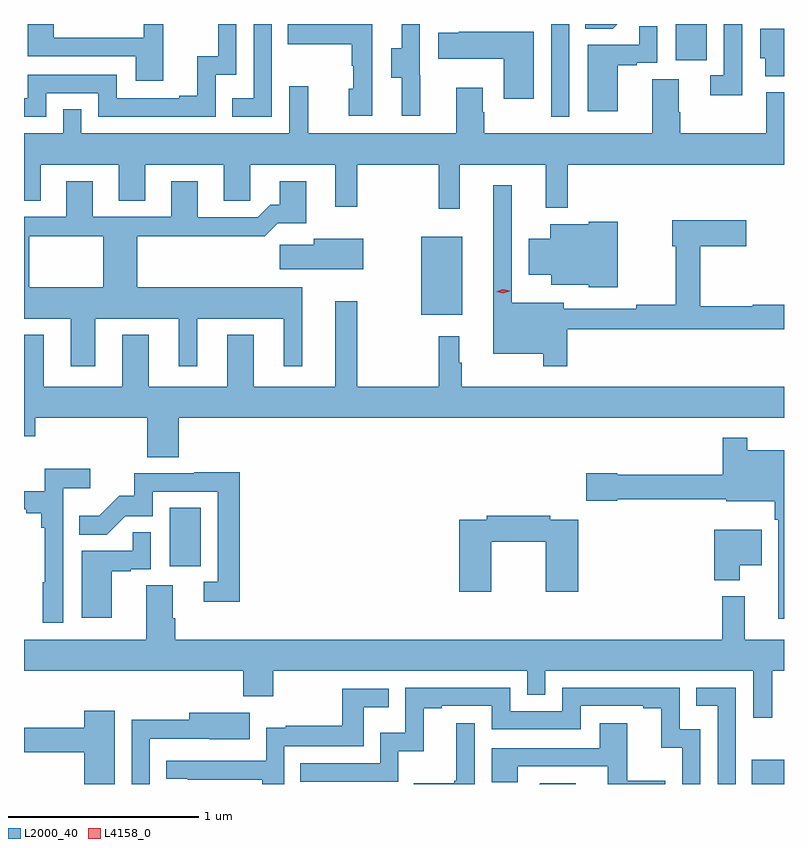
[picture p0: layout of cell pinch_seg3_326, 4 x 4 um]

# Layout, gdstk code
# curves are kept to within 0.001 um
import gdstk
lib = gdstk.Library(unit=1e-6, precision=1e-09)
def R(c, l, rs):  # rectangles x0, y0, x1, y1
    for r in rs: c.add(gdstk.rectangle(r[:2], r[2:], *l))
def P(c, l, *ps):  # polygons
    for p in ps: c.add(gdstk.Polygon(p, *l))
L2000_40 = (2000, 40)
L4158_0 = (4158, 0)

pinch_seg3_326 = lib.new_cell('pinch_seg3_326')
R(pinch_seg3_326, L2000_40, [(1001.593,717.636,1001.762,717.763), (998.528,718.782,998.692,719.089), (999.854,720.107,1000.069,720.517), (1000.536,721.149,1000.632,721.636), (1001.192,721.446,1001.356,721.636)])
P(pinch_seg3_326, L2000_40, [(997.878,721.272),(998.154,721.272),(998.154,721.149),(998.772,721.149),(998.772,721.368),(998.88,721.368),(998.88,721.636),(998.784,721.636),(998.784,721.466),(998.675,721.466),(998.675,721.258),(998.579,721.258),(998.579,721.245),(998.25,721.245),(998.25,721.368),(997.782,721.368),(997.782,721.245),(997.762,721.245),(997.762,721.149),(997.878,721.149)],
  [(999.848,721.365),(999.846,721.365),(999.846,721.636),(999.75,721.636),(999.75,721.509),(999.695,721.509),(999.695,721.354),(999.749,721.354),(999.749,721.152),(999.848,721.152)],
  [(998.495,721.636),(998.393,721.636),(998.393,721.563),(997.919,721.563),(997.919,721.636),(997.782,721.636),(997.782,721.467),(998.351,721.467),(998.351,721.338),(998.495,721.338)],
  [(1000.885,721.636),(1000.717,721.636),(1000.717,721.612),(1000.861,721.612)],
  [(1001.541,721.636),(1001.445,721.636),(1001.445,721.365),(1001.373,721.365),(1001.373,721.26),(1001.541,721.26)],
  [(999.594,721.636),(999.151,721.636),(999.151,721.529),(999.486,721.529),(999.486,721.415),(999.496,721.415),(999.496,721.296),(999.47,721.296),(999.47,721.152),(999.594,721.152)],
  [(999.066,721.636),(998.97,721.636),(998.97,721.245),(998.857,721.245),(998.857,721.149),(999.066,721.149)],
  [(1000.888,721.419),(1000.988,721.419),(1000.988,721.431),(1001.094,721.431),(1001.094,721.625),(1000.999,721.625),(1000.999,721.527),(1000.73,721.527),(1000.73,721.176),(1000.888,721.176)],
  [(1001.762,721.612),(1001.636,721.612),(1001.636,721.455),(1001.663,721.455),(1001.663,721.361),(1001.762,721.361)],
  [(1000.444,721.594),(1000.051,721.594),(1000.051,721.591),(999.943,721.591),(999.943,721.454),(1000.286,721.454),(1000.286,721.242),(1000.444,721.242)],
  [(998.064,721.187),(997.968,721.187),(997.968,721.06),(997.762,721.06),(997.762,720.706),(997.849,720.706),(997.849,720.896),(998.261,720.896),(998.261,720.706),(998.401,720.706),(998.401,720.896),(998.813,720.896),(998.813,720.706),(998.952,720.706),(998.952,720.896),(999.401,720.896),(999.401,720.675),(999.515,720.675),(999.515,720.896),(999.945,720.896),(999.945,720.663),(1000.055,720.663),(1000.055,720.896),(1000.508,720.896),(1000.508,720.668),(1000.625,720.668),(1000.625,720.896),(1001.762,720.896),(1001.762,721.276),(1001.669,721.276),(1001.669,721.06),(1001.217,721.06),(1001.217,721.172),(1001.209,721.172),(1001.209,721.346),(1001.069,721.346),(1001.069,721.06),(1000.185,721.06),(1000.185,721.172),(1000.177,721.172),(1000.177,721.3),(1000.037,721.3),(1000.037,721.06),(999.257,721.06),(999.257,721.309),(999.159,721.309),(999.159,721.06),(998.064,721.06)],
  [(998.009,720.086),(998.009,719.835),(998.137,719.835),(998.137,720.086),(998.576,720.086),(998.576,719.835),(998.674,719.835),(998.674,720.086),(999.128,720.086),(999.128,719.835),(999.226,719.835),(999.226,720.25),(998.357,720.25),(998.357,720.52),(998.773,720.52),(998.773,720.518),(999.029,720.518),(999.098,720.587),(999.247,720.587),(999.247,720.808),(999.107,720.808),(999.107,720.685),(999.058,720.685),(998.991,720.618),(998.677,720.618),(998.677,720.808),(998.537,720.808),(998.537,720.621),(998.125,720.621),(998.125,720.808),(997.985,720.808),(997.985,720.621),(997.762,720.621),(997.762,720.25),(997.789,720.25),(997.789,720.52),(998.179,720.52),(998.179,720.25),(997.762,720.25),(997.762,720.086)],
  [(1000.622,720.03),(1001.762,720.03),(1001.762,720.158),(1001.598,720.158),(1001.598,720.151),(1001.321,720.151),(1001.321,720.466),(1001.563,720.466),(1001.563,720.603),(1001.174,720.603),(1001.174,720.466),(1001.193,720.466),(1001.193,720.158),(1000.984,720.158),(1000.984,720.138),(1000.603,720.138),(1000.603,720.169),(1000.329,720.169),(1000.329,720.787),(1000.232,720.787),(1000.232,719.9),(1000.494,719.9),(1000.494,719.835),(1000.622,719.835)],
  [(1000.888,720.595),(1000.734,720.595),(1000.734,720.583),(1000.532,720.583),(1000.532,720.505),(1000.418,720.505),(1000.418,720.317),(1000.538,720.317),(1000.538,720.263),(1000.734,720.263),(1000.734,720.251),(1000.888,720.251)],
  [(999.547,720.505),(999.288,720.505),(999.288,720.473),(999.108,720.473),(999.108,720.344),(999.547,720.344)],
  [(998.576,719.564),(1001.762,719.564),(1001.762,719.728),(1000.066,719.728),(1000.066,719.852),(1000.054,719.852),(1000.054,719.992),(999.945,719.992),(999.945,719.728),(999.515,719.728),(999.515,720.178),(999.401,720.178),(999.401,719.728),(998.971,719.728),(998.971,720.001),(998.831,720.001),(998.831,719.728),(998.419,719.728),(998.419,720.001),(998.279,720.001),(998.279,719.728),(997.867,719.728),(997.867,720.001),(997.762,720.001),(997.762,719.466),(997.82,719.466),(997.82,719.564),(998.411,719.564),(998.411,719.356),(998.576,719.356)],
  [(1001.762,719.392),(1001.569,719.392),(1001.569,719.458),(1001.44,719.458),(1001.44,719.263),(1000.884,719.263),(1000.884,719.271),(1000.722,719.271),(1000.722,719.126),(1000.884,719.126),(1000.884,719.134),(1001.459,719.134),(1001.459,719.123),(1001.713,719.123),(1001.713,719.027),(1001.733,719.027),(1001.733,718.506),(1001.762,718.506)],
  [(997.968,719.192),(998.11,719.192),(998.11,719.294),(997.871,719.294),(997.871,719.178),(997.762,719.178),(997.762,719.081),(997.775,719.081),(997.775,719.062),(997.852,719.062),(997.852,718.985),(997.871,718.985),(997.871,718.697),(997.86,718.697),(997.86,718.485),(997.968,718.485)],
  [(998.897,719.276),(998.659,719.276),(998.659,719.271),(998.341,719.271),(998.341,719.154),(998.264,719.154),(998.157,719.047),(998.053,719.047),(998.053,718.948),(998.197,718.948),(998.295,719.046),(998.439,719.046),(998.439,719.175),(998.781,719.175),(998.781,718.701),(998.709,718.701),(998.709,718.596),(998.897,718.596)],
  [(1000.222,718.912),(1000.508,718.912),(1000.508,718.647),(1000.679,718.647),(1000.679,719.028),(1000.532,719.028),(1000.532,719.048),(1000.198,719.048),(1000.198,719.028),(1000.052,719.028),(1000.052,718.647),(1000.222,718.647)],
  [(1001.53,718.787),(1001.644,718.787),(1001.644,718.975),(1001.396,718.975),(1001.396,718.709),(1001.53,718.709)],
  [(998.224,718.755),(998.324,718.755),(998.324,718.767),(998.43,718.767),(998.43,718.961),(998.335,718.961),(998.335,718.863),(998.066,718.863),(998.066,718.512),(998.224,718.512)],
  [(1001.699,718.232),(1001.762,718.232),(1001.762,718.396),(1001.555,718.396),(1001.555,718.624),(1001.437,718.624),(1001.437,718.396),(998.558,718.396),(998.558,718.508),(998.545,718.508),(998.545,718.682),(998.405,718.682),(998.405,718.396),(997.762,718.396),(997.762,718.232),(998.915,718.232),(998.915,718.097),(999.075,718.097),(999.075,718.232),(1000.41,718.232),(1000.41,718.105),(1000.506,718.105),(1000.506,718.232),(1001.601,718.232),(1001.601,717.984),(1001.699,717.984)],
  [(1001.322,717.924),(1001.214,717.924),(1001.214,718.143),(1000.596,718.143),(1000.596,718.02),(1000.32,718.02),(1000.32,718.143),(999.768,718.143),(999.768,717.907),(999.636,717.907),(999.636,717.744),(999.217,717.744),(999.217,717.648),(999.732,717.648),(999.732,717.809),(999.865,717.809),(999.865,718.035),(999.961,718.035),(999.961,718.047),(1000.224,718.047),(1000.224,717.924),(1000.692,717.924),(1000.692,718.047),(1001.021,718.047),(1001.021,718.035),(1001.117,718.035),(1001.117,717.827),(1001.226,717.827),(1001.226,717.636),(1001.322,717.636)],
  [(1001.508,718.143),(1001.299,718.143),(1001.299,718.047),(1001.412,718.047),(1001.412,717.636),(1001.508,717.636)],
  [(999.132,717.834),(999.549,717.834),(999.549,718.04),(999.683,718.04),(999.683,718.137),(999.438,718.137),(999.438,717.943),(999.139,717.943),(999.139,717.931),(999.036,717.931),(999.036,717.759),(998.511,717.759),(998.511,717.663),(998.623,717.663),(998.623,717.658),(999.016,717.658),(999.016,717.636),(999.132,717.636)],
  [(998.239,718.021),(998.078,718.021),(998.078,717.931),(997.762,717.931),(997.762,717.802),(998.078,717.802),(998.078,717.636),(998.239,717.636)],
  [(998.424,717.873),(998.737,717.873),(998.737,717.872),(998.951,717.872),(998.951,718.012),(998.633,718.012),(998.633,717.974),(998.328,717.974),(998.328,717.636),(998.424,717.636)],
  [(1000.134,717.955),(1000.037,717.955),(1000.037,717.652),(1000.026,717.652),(1000.026,717.64),(999.813,717.64),(999.813,717.636),(1000.134,717.636)],
  [(1001.136,717.652),(1000.937,717.652),(1000.937,717.955),(1000.793,717.955),(1000.793,717.825),(1000.224,717.825),(1000.224,717.645),(1000.361,717.645),(1000.361,717.729),(1000.835,717.729),(1000.835,717.636),(1001.136,717.636)],
  [(1000.666,717.639),(1000.478,717.639),(1000.475,717.636),(1000.666,717.636)])
P(pinch_seg3_326, L4158_0, [(1000.284,720.219),(1000.248,720.228),(1000.248,720.228),(1000.248,720.228),(1000.283,720.239),(1000.319,720.231),(1000.319,720.23),(1000.319,720.23)])

lib.write_gds('pinch_seg3_326.gds')
